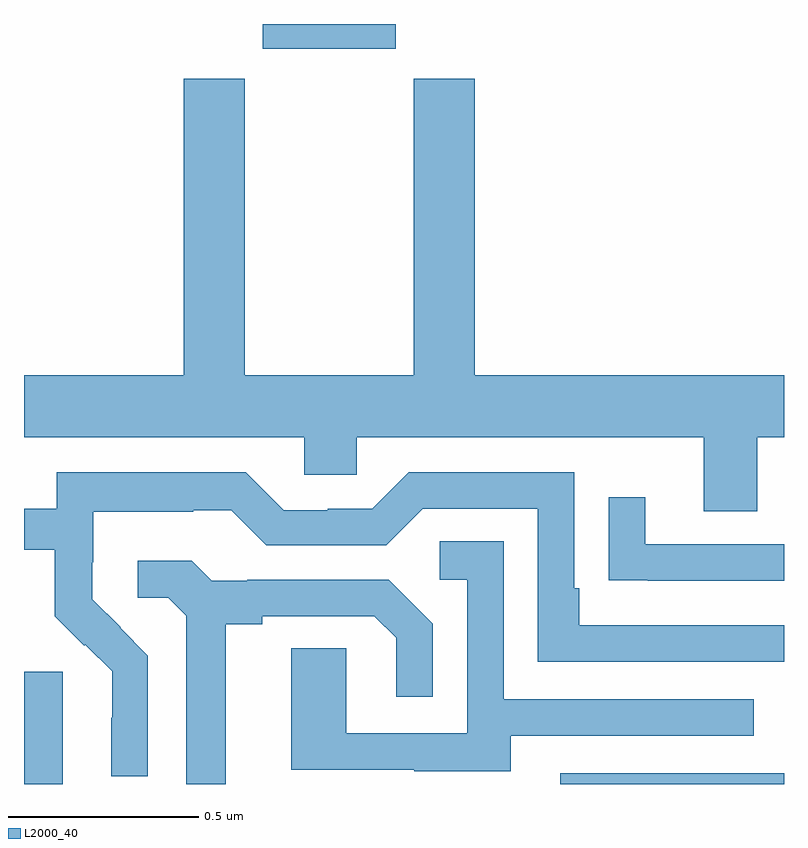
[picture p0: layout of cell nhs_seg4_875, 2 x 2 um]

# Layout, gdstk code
import gdstk
lib = gdstk.Library(unit=1e-6, precision=1e-09)
def R(c, l, rs):  # rectangles x0, y0, x1, y1
    for r in rs: c.add(gdstk.rectangle(r[:2], r[2:], *l))
def P(c, l, *ps):  # polygons
    for p in ps: c.add(gdstk.Polygon(p, *l))
L2000_40 = (2000, 40)

nhs_seg4_875 = lib.new_cell('nhs_seg4_875')
R(nhs_seg4_875, L2000_40, [(121,803.9,121.102,804.195), (122.411,803.9,123,803.928), (121.628,805.835,121.978,805.9)])
P(nhs_seg4_875, L2000_40, [(122.929,804.812),(123,804.812),(123,804.976),(122.186,804.976),(122.186,805.756),(122.026,805.756),(122.026,804.976),(121.581,804.976),(121.581,805.756),(121.421,805.756),(121.421,804.976),(121,804.976),(121,804.812),(121.737,804.812),(121.737,804.714),(121.875,804.714),(121.875,804.812),(122.789,804.812),(122.789,804.618),(122.929,804.618)],
  [(121.326,804.238),(121.253,804.311),(121.254,804.312),(121.18,804.386),(121.18,804.483),(121.182,804.483),(121.182,804.617),(121.445,804.617),(121.445,804.621),(121.545,804.621),(121.638,804.528),(121.953,804.528),(122.049,804.624),(122.352,804.624),(122.352,804.222),(123,804.222),(123,804.318),(122.461,804.318),(122.461,804.415),(122.448,804.415),(122.448,804.72),(122.013,804.72),(121.917,804.624),(121.799,804.624),(121.799,804.621),(121.683,804.621),(121.583,804.721),(121.086,804.721),(121.086,804.624),(121,804.624),(121,804.516),(121.081,804.516),(121.081,804.341),(121.158,804.264),(121.161,804.267),(121.232,804.197),(121.232,804.074),(121.23,804.074),(121.23,803.92),(121.326,803.92)],
  [(123,804.531),(122.635,804.531),(122.635,804.655),(122.539,804.655),(122.539,804.436),(122.641,804.436),(122.641,804.435),(123,804.435)],
  [(122.281,804.027),(122.921,804.027),(122.921,804.123),(122.262,804.123),(122.262,804.539),(122.094,804.539),(122.094,804.438),(122.166,804.438),(122.166,804.033),(121.848,804.033),(121.848,804.257),(121.703,804.257),(121.703,803.937),(122.027,803.937),(122.027,803.933),(122.281,803.933)],
  [(121.531,804.32),(121.627,804.32),(121.627,804.342),(121.922,804.342),(121.979,804.285),(121.979,804.129),(122.076,804.129),(122.076,804.322),(121.96,804.438),(121.588,804.438),(121.588,804.435),(121.494,804.435),(121.442,804.487),(121.299,804.487),(121.299,804.39),(121.38,804.39),(121.427,804.343),(121.427,803.9),(121.531,803.9)])

lib.write_gds('nhs_seg4_875.gds')
